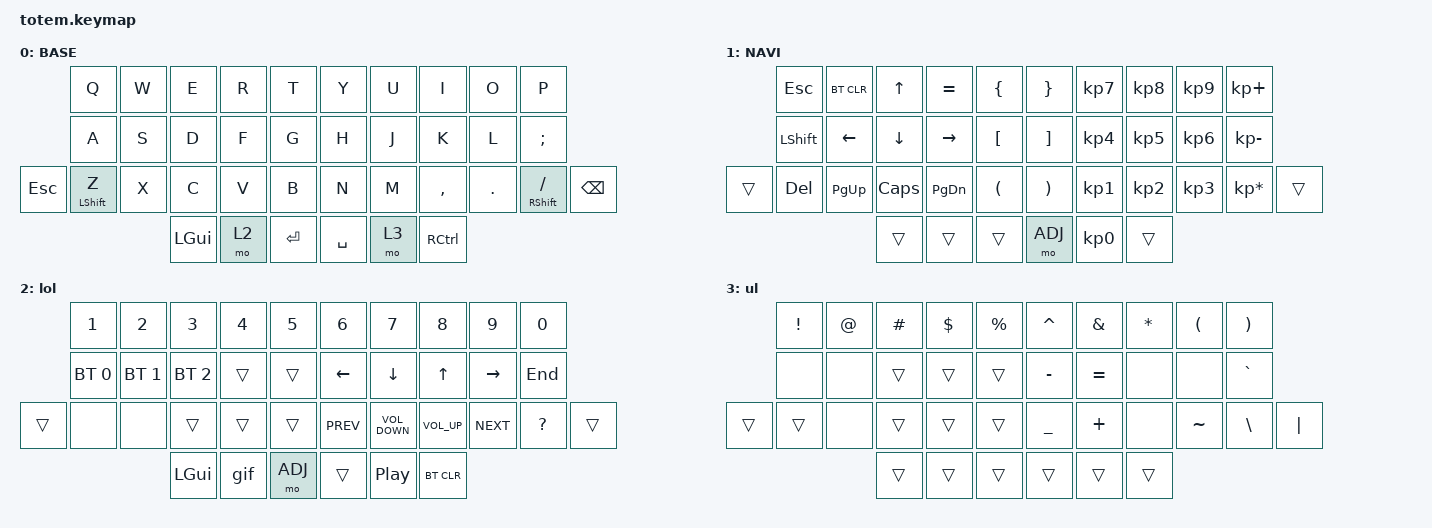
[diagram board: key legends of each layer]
//
//                                                        ▀▀▀▀▀     ▀▀▀▀▀          ▀▀█▀▀
//                                                        ▄▀▀▀▄  ▄  ▄▀▀▀▄  ▄  ▄▀▀▀▄  █  ▄▀▀▀▄
//                                                        █   █  █  █   █  █  █   █  █  █   █
//                                                         ▀▀▀   █   ▀▀▀   █   ▀▀▀   ▀   ▀▀▀
//                                                               █      ▄▄▄█▄▄▄    █   █  
//                                                               ▀      █  █  █     █▄█
//                                                             ▀▀▀▀▀    █  █  █      ▀
//                                                                      ▀  ▀  ▀
//
// ▄▄▄▄▄▄▄▄▄▄▄▄▄▄▄▄▄▄▄▄▄▄▄▄▄▄▄▄▄▄▄▄▄▄▄▄▄▄▄▄▄▄▄▄▄▄▄▄▄▄▄▄▄▄▄▄▄▄▄▄▄▄▄▄▄▄▄▄▄▄▄▄▄▄▄▄▄▄▄▄▄▄▄▄▄▄▄▄▄▄▄▄▄▄▄▄▄▄▄▄▄▄▄▄▄▄▄▄▄▄▄▄▄▄▄▄▄▄▄▄▄▄▄▄▄▄▄▄▄▄▄▄▄▄▄▄▄▄▄▄▄▄▄▄▄▄▄▄▄

#include <behaviors.dtsi>
#include <dt-bindings/zmk/bt.h>
#include <dt-bindings/zmk/keys.h>

#define BASE 0
#define NAV  1
#define SYM  2
#define ADJ  3

&mt {
    quick-tap-ms = <100>;
    global-quick-tap;
    flavor = "tap-preferred";
    tapping-term-ms = <170>;
};

/ {
    combos {
        compatible = "zmk,combos";

        combo_apo {
            bindings = <&kp APOS>;
            key-positions = <18 19>;
        };

        combo_tab {
            bindings = <&kp TAB>;
            key-positions = <11 23>;
        };

        combo_bracket_left {
            bindings = <&kp LEFT_PARENTHESIS>;
            key-positions = <3 4>;
        };

        combo_bracket_right {
            bindings = <&kp RIGHT_PARENTHESIS>;
            key-positions = <6 5>;
        };

        combo_sq_bracket {
            bindings = <&kp LEFT_BRACKET>;
            key-positions = <13 14>;
        };

        combo_sq_bracket_right {
            bindings = <&kp RIGHT_BRACKET>;
            key-positions = <15 16>;
        };

        combo_brace_left {
            bindings = <&kp LEFT_BRACE>;
            key-positions = <24 25>;
        };

        combo_brace_right {
            bindings = <&kp RIGHT_BRACE>;
            key-positions = <26 27>;
        };
    };

    macros {
        gif: gif {
            label = "giphy";
            compatible = "zmk,behavior-macro";
            #binding-cells = <0>;
            bindings =
                <&macro_press>,
                <&kp LSHFT>,
                <&macro_tap>,
                <&kp N2>,
                <&macro_release>,
                <&kp LSHFT>,
                <&macro_tap>,
                <&kp G &kp I &kp F>;
        };
    };

    keymap {
        compatible = "zmk,keymap";

        // ▄▄▄▄▄▄▄▄▄▄▄▄▄▄▄▄▄▄▄▄▄▄▄▄▄▄▄▄▄▄▄▄▄▄▄▄▄▄▄▄▄▄▄▄▄▄▄▄▄▄▄▄▄▄▄▄▄▄▄▄▄▄▄▄▄▄▄▄▄▄▄▄▄▄▄▄▄▄▄▄▄▄▄▄▄▄▄▄▄▄▄▄▄▄▄▄▄▄▄▄▄▄▄▄▄▄▄▄▄▄▄▄▄▄▄▄▄▄▄▄▄▄▄▄▄▄▄▄▄▄▄▄▄▄▄▄▄▄▄▄▄▄▄▄▄▄▄▄▄

        base_layer {
            // ┏━━━━━━━━━━━━━━━━━━━━━━━━━━━━━━━━━━━━━━━┓

            label = "BASE";

            // ┗━━━━━━━━━━━━━━━━━━━━━━━━━━━━━━━━━━━━━━━┛
            //             ┏━━━━━━━━━━━┳━━━━━━━━━━━┳━━━━━━━━━━━┳━━━━━━━━━━━┳━━━━━━━━━━━┓   ┏━━━━━━━━━━━┳━━━━━━━━━━━┳━━━━━━━━━━━┳━━━━━━━━━━━┳━━━━━━━━━━━┓
            //             ┃     Q     ┃     W     ┃     F     ┃     P     ┃     G     ┃   ┃     J     ┃     L     ┃     U     ┃     Y     ┃     ;     ┃
            //             ┣━━━━━━━━━━━╋━━━━━━━━━━━╋━━━━━━━━━━━╋━━━━━━━━━━━╋━━━━━━━━━━━┫   ┣━━━━━━━━━━━╋━━━━━━━━━━━╋━━━━━━━━━━━╋━━━━━━━━━━━╋━━━━━━━━━━━┫
            //             ┃     A     ┃     R     ┃     S     ┃     T     ┃     D     ┃   ┃     H     ┃     N     ┃     E     ┃     I     ┃     O     ┃
            // ┏━━━━━━━━━━━╋━━━━━━━━━━━╋━━━━━━━━━━━╋━━━━━━━━━━━╋━━━━━━━━━━━╋━━━━━━━━━━━┫   ┣━━━━━━━━━━━╋━━━━━━━━━━━╋━━━━━━━━━━━╋━━━━━━━━━━━╋━━━━━━━━━━━╋━━━━━━━━━━━┓
            // ┃           ┃     Z     ┃     X     ┃     C     ┃     V     ┃     B     ┃   ┃     K     ┃     M     ┃     ,     ┃     .     ┃     /     ┃           ┃
            // ┗━━━━━━━━━━━┻━━━━━━━━━━━┻━━━━━━━━━━━╋━━━━━━━━━━━╋━━━━━━━━━━━╋━━━━━━━━━━━┫   ┣━━━━━━━━━━━╋━━━━━━━━━━━╋━━━━━━━━━━━╋━━━━━━━━━━━┻━━━━━━━━━━━┻━━━━━━━━━━━┛
            //                                     ┃           ┃    TAB    ┃    SPC    ┃   ┃   ENTER   ┃   BSPC    ┃           ┃
            //                                     ┗━━━━━━━━━━━┻━━━━━━━━━━━┻━━━━━━━━━━━┛   ┗━━━━━━━━━━━┻━━━━━━━━━━━┻━━━━━━━━━━━┛

            bindings = <
            &kp Q             &kp W  &kp E         &kp R  &kp T        &kp Y      &kp U  &kp I      &kp O    &kp P
            &kp A             &kp S  &kp D         &kp F  &kp G        &kp H      &kp J  &kp K      &kp L    &kp SEMI
&kp ESCAPE  &mt LEFT_SHIFT Z  &kp X  &kp C         &kp V  &kp B        &kp N      &kp M  &kp COMMA  &kp DOT  &mt RIGHT_SHIFT SLASH  &kp BACKSPACE
                                     &kp LEFT_GUI  &mo 2  &kp ENTER    &kp SPACE  &mo 3  &kp RCTRL
            >;
        };

        // ▄▄▄▄▄▄▄▄▄▄▄▄▄▄▄▄▄▄▄▄▄▄▄▄▄▄▄▄▄▄▄▄▄▄▄▄▄▄▄▄▄▄▄▄▄▄▄▄▄▄▄▄▄▄▄▄▄▄▄▄▄▄▄▄▄▄▄▄▄▄▄▄▄▄▄▄▄▄▄▄▄▄▄▄▄▄▄▄▄▄▄▄▄▄▄▄▄▄▄▄▄▄▄▄▄▄▄▄▄▄▄▄▄▄▄▄▄▄▄▄▄▄▄▄▄▄▄▄▄▄▄▄▄▄▄▄▄▄▄▄▄▄▄▄▄▄▄▄▄

        nav_layer {
            // ┏━━━━━━━━━━━━━━━━━━━━━━━━━━━━━━━━━━━━━━━┓

            label = "NAVI";

            // ┗━━━━━━━━━━━━━━━━━━━━━━━━━━━━━━━━━━━━━━━┛
            //             ┏━━━━━━━━━━━┳━━━━━━━━━━━┳━━━━━━━━━━━┳━━━━━━━━━━━┳━━━━━━━━━━━┓   ┏━━━━━━━━━━━┳━━━━━━━━━━━┳━━━━━━━━━━━┳━━━━━━━━━━━┳━━━━━━━━━━━┓
            //             ┃           ┃           ┃     UP    ┃           ┃     {     ┃   ┃     }     ┃     7     ┃     8     ┃     9     ┃     +     ┃
            //             ┣━━━━━━━━━━━╋━━━━━━━━━━━╋━━━━━━━━━━━╋━━━━━━━━━━━╋━━━━━━━━━━━┫   ┣━━━━━━━━━━━╋━━━━━━━━━━━╋━━━━━━━━━━━╋━━━━━━━━━━━╋━━━━━━━━━━━┫
            //             ┃   SHIFT   ┃   LEFT    ┃    DOWN   ┃   RIGHT   ┃     [     ┃   ┃     ]     ┃     4     ┃     5     ┃     6     ┃     -     ┃
            // ┏━━━━━━━━━━━╋━━━━━━━━━━━╋━━━━━━━━━━━╋━━━━━━━━━━━╋━━━━━━━━━━━╋━━━━━━━━━━━┫   ┣━━━━━━━━━━━╋━━━━━━━━━━━╋━━━━━━━━━━━╋━━━━━━━━━━━╋━━━━━━━━━━━╋━━━━━━━━━━━┓
            // ┃           ┃           ┃   P UP    ┃  C LOCK   ┃  P DOWN   ┃     (     ┃   ┃     )     ┃     1     ┃     2     ┃     3     ┃     *     ┃           ┃
            // ┗━━━━━━━━━━━┻━━━━━━━━━━━┻━━━━━━━━━━━╋━━━━━━━━━━━╋━━━━━━━━━━━╋━━━━━━━━━━━┫   ┣━━━━━━━━━━━╋━━━━━━━━━━━╋━━━━━━━━━━━╋━━━━━━━━━━━┻━━━━━━━━━━━┻━━━━━━━━━━━┛
            //                                     ┃           ┃    TAB    ┃    SPC    ┃   ┃    DEL    ┃     0     ┃           ┃
            //                                     ┗━━━━━━━━━━━┻━━━━━━━━━━━┻━━━━━━━━━━━┛   ┗━━━━━━━━━━━┻━━━━━━━━━━━┻━━━━━━━━━━━┛

            bindings = <
        &kp ESC    &bt BT_CLR  &kp UP    &kp EQUAL  &kp LBRC    &kp RBRC  &kp KP_N7  &kp KP_N8  &kp KP_N9  &kp KP_PLUS
        &kp LSHFT  &kp LEFT    &kp DOWN  &kp RIGHT  &kp LBKT    &kp RBKT  &kp KP_N4  &kp KP_N5  &kp KP_N6  &kp KP_MINUS
&trans  &kp DEL    &kp PG_UP   &kp CAPS  &kp PG_DN  &kp LPAR    &kp RPAR  &kp KP_N1  &kp KP_N2  &kp KP_N3  &kp KP_MULTIPLY  &trans
                               &trans    &trans     &trans      &mo ADJ   &kp KP_N0  &trans
            >;
        };

        // ▄▄▄▄▄▄▄▄▄▄▄▄▄▄▄▄▄▄▄▄▄▄▄▄▄▄▄▄▄▄▄▄▄▄▄▄▄▄▄▄▄▄▄▄▄▄▄▄▄▄▄▄▄▄▄▄▄▄▄▄▄▄▄▄▄▄▄▄▄▄▄▄▄▄▄▄▄▄▄▄▄▄▄▄▄▄▄▄▄▄▄▄▄▄▄▄▄▄▄▄▄▄▄▄▄▄▄▄▄▄▄▄▄▄▄▄▄▄▄▄▄▄▄▄▄▄▄▄▄▄▄▄▄▄▄▄▄▄▄▄▄▄▄▄▄▄▄▄▄

        lower_layer {
            // ┏━━━━━━━━━━━━━━━━━━━━━━━━━━━━━━━━━━━━━━━┓

            label = "lol";

            // ┗━━━━━━━━━━━━━━━━━━━━━━━━━━━━━━━━━━━━━━━┛
            //             ┏━━━━━━━━━━━┳━━━━━━━━━━━┳━━━━━━━━━━━┳━━━━━━━━━━━┳━━━━━━━━━━━┓   ┏━━━━━━━━━━━┳━━━━━━━━━━━┳━━━━━━━━━━━┳━━━━━━━━━━━┳━━━━━━━━━━━┓
            //             ┃     !     ┃     @     ┃     #     ┃     $     ┃     %     ┃   ┃     ˆ     ┃     &     ┃     Ü     ┃     '     ┃     "     ┃
            //             ┣━━━━━━━━━━━╋━━━━━━━━━━━╋━━━━━━━━━━━╋━━━━━━━━━━━╋━━━━━━━━━━━┫   ┣━━━━━━━━━━━╋━━━━━━━━━━━╋━━━━━━━━━━━╋━━━━━━━━━━━╋━━━━━━━━━━━┫
            //             ┃     Ä     ┃           ┃    SZ     ┃           ┃           ┃   ┃   MUTE    ┃   YEN     ┃   EURO    ┃  POUND    ┃     Ö     ┃
            // ┏━━━━━━━━━━━╋━━━━━━━━━━━╋━━━━━━━━━━━╋━━━━━━━━━━━╋━━━━━━━━━━━╋━━━━━━━━━━━┫   ┣━━━━━━━━━━━╋━━━━━━━━━━━╋━━━━━━━━━━━╋━━━━━━━━━━━╋━━━━━━━━━━━╋━━━━━━━━━━━┓
            // ┃           ┃  EMAIL1   ┃  EMAIL2   ┃           ┃           ┃           ┃   ┃   VOL-    ┃   VOL+    ┃   LAST    ┃   NEXT    ┃     \     ┃           ┃
            // ┗━━━━━━━━━━━┻━━━━━━━━━━━┻━━━━━━━━━━━╋━━━━━━━━━━━╋━━━━━━━━━━━╋━━━━━━━━━━━┫   ┣━━━━━━━━━━━╋━━━━━━━━━━━╋━━━━━━━━━━━╋━━━━━━━━━━━┻━━━━━━━━━━━┻━━━━━━━━━━━┛
            //                                     ┃           ┃    GIF    ┃    ADJ    ┃   ┃           ┃           ┃           ┃
            //                                     ┗━━━━━━━━━━━┻━━━━━━━━━━━┻━━━━━━━━━━━┛   ┗━━━━━━━━━━━┻━━━━━━━━━━━┻━━━━━━━━━━━┛

            bindings = <
        &kp NUMBER_1  &kp N2        &kp N3        &kp N4  &kp N5     &kp N6          &kp N7             &kp N8           &kp N9           &kp N0
        &bt BT_SEL 0  &bt BT_SEL 1  &bt BT_SEL 2  &trans  &trans     &kp LEFT_ARROW  &kp DOWN_ARROW     &kp UP_ARROW     &kp RIGHT_ARROW  &kp END
&trans  &none         &none         &trans        &trans  &trans     &kp C_PREV      &kp C_VOLUME_DOWN  &kp C_VOLUME_UP  &kp C_NEXT       &kp QUESTION  &trans
                                    &kp LEFT_GUI  &gif    &mo ADJ    &trans          &kp C_PP           &bt BT_CLR
            >;
        };

        // ▄▄▄▄▄▄▄▄▄▄▄▄▄▄▄▄▄▄▄▄▄▄▄▄▄▄▄▄▄▄▄▄▄▄▄▄▄▄▄▄▄▄▄▄▄▄▄▄▄▄▄▄▄▄▄▄▄▄▄▄▄▄▄▄▄▄▄▄▄▄▄▄▄▄▄▄▄▄▄▄▄▄▄▄▄▄▄▄▄▄▄▄▄▄▄▄▄▄▄▄▄▄▄▄▄▄▄▄▄▄▄▄▄▄▄▄▄▄▄▄▄▄▄▄▄▄▄▄▄▄▄▄▄▄▄▄▄▄▄▄▄▄▄▄▄▄▄▄▄

        upper_layer {
            // ┏━━━━━━━━━━━━━━━━━━━━━━━━━━━━━━━━━━━━━━━┓

            label = "ul";

            // ┗━━━━━━━━━━━━━━━━━━━━━━━━━━━━━━━━━━━━━━━┛
            //             ┏━━━━━━━━━━━┳━━━━━━━━━━━┳━━━━━━━━━━━┳━━━━━━━━━━━┳━━━━━━━━━━━┓   ┏━━━━━━━━━━━┳━━━━━━━━━━━┳━━━━━━━━━━━┳━━━━━━━━━━━┳━━━━━━━━━━━┓
            //             ┃   RESET   ┃ BT CLEAR  ┃  OUT TOG  ┃           ┃           ┃   ┃           ┃    F7     ┃    F8     ┃    F9     ┃    F12    ┃
            //             ┣━━━━━━━━━━━╋━━━━━━━━━━━╋━━━━━━━━━━━╋━━━━━━━━━━━╋━━━━━━━━━━━┫   ┣━━━━━━━━━━━╋━━━━━━━━━━━╋━━━━━━━━━━━╋━━━━━━━━━━━╋━━━━━━━━━━━┫
            //             ┃ BOOTLOAD  ┃ BT NEXT   ┃           ┃           ┃           ┃   ┃           ┃    F4     ┃    F5     ┃    F6     ┃    F11    ┃
            // ┏━━━━━━━━━━━╋━━━━━━━━━━━╋━━━━━━━━━━━╋━━━━━━━━━━━╋━━━━━━━━━━━╋━━━━━━━━━━━┫   ┣━━━━━━━━━━━╋━━━━━━━━━━━╋━━━━━━━━━━━╋━━━━━━━━━━━╋━━━━━━━━━━━╋━━━━━━━━━━━┓
            // ┃           ┃           ┃ BT PREV   ┃           ┃           ┃           ┃   ┃           ┃    F1     ┃    F2     ┃    F3     ┃    F10    ┃           ┃
            // ┗━━━━━━━━━━━┻━━━━━━━━━━━┻━━━━━━━━━━━╋━━━━━━━━━━━╋━━━━━━━━━━━╋━━━━━━━━━━━┫   ┣━━━━━━━━━━━╋━━━━━━━━━━━╋━━━━━━━━━━━╋━━━━━━━━━━━┻━━━━━━━━━━━┻━━━━━━━━━━━┛
            //                                     ┃           ┃           ┃           ┃   ┃           ┃           ┃           ┃
            //                                     ┗━━━━━━━━━━━┻━━━━━━━━━━━┻━━━━━━━━━━━┛   ┗━━━━━━━━━━━┻━━━━━━━━━━━┻━━━━━━━━━━━┛

            bindings = <
        &kp EXCLAMATION  &kp AT_SIGN  &kp HASH  &kp DOLLAR  &kp PERCENT    &kp CARET       &kp AMPERSAND  &kp ASTERISK  &kp LEFT_PARENTHESIS  &kp RIGHT_PARENTHESIS
        &none            &none        &trans    &trans      &trans         &kp MINUS       &kp EQUAL      &none         &none                 &kp GRAVE
&trans  &trans           &none        &trans    &trans      &trans         &kp UNDERSCORE  &kp PLUS       &none         &kp TILDE             &kp BACKSLASH          &kp PIPE
                                      &trans    &trans      &trans         &trans          &trans         &trans
            >;
        };
    };
};

&kscan0 { wakeup-source; };
